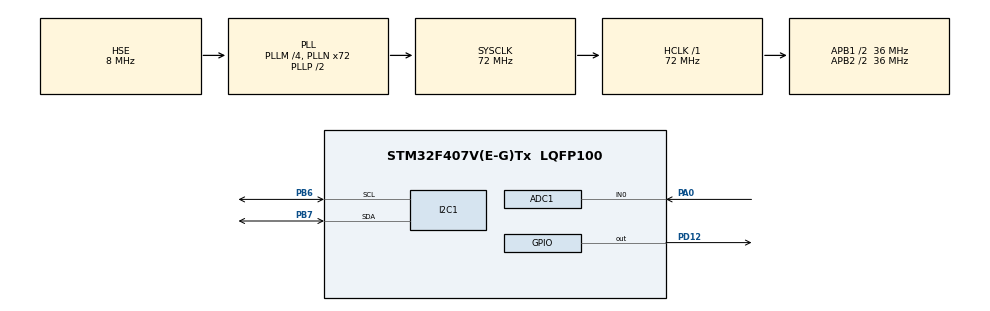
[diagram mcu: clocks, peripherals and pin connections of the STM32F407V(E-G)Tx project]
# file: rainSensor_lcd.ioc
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ADC1.Channel-2\#ChannelRegularConversion=ADC_CHANNEL_0
ADC1.NbrOfConversionFlag=1
ADC1.Rank-2\#ChannelRegularConversion=1
ADC1.SamplingTime-2\#ChannelRegularConversion=ADC_SAMPLETIME_3CYCLES
ADC1.master=1
Mcu.Family=STM32F4
Mcu.Name=STM32F407V(E-G)Tx
Mcu.Package=LQFP100
NVIC.PriorityGroup=NVIC_PRIORITYGROUP_0
PA0-WKUP.Signal=ADCx_IN0
PA13.Mode=Serial_Wire
PA13.Signal=SYS_JTMS-SWDIO
PA14.Mode=Serial_Wire
PA14.Signal=SYS_JTCK-SWCLK
PB6.Mode=I2C
PB6.Signal=I2C1_SCL
PB7.Mode=I2C
PB7.Signal=I2C1_SDA
PD12.Signal=GPIO_Output
PH0-OSC_IN.Mode=HSE-External-Oscillator
PH0-OSC_IN.Signal=RCC_OSC_IN
PH1-OSC_OUT.Mode=HSE-External-Oscillator
PH1-OSC_OUT.Signal=RCC_OSC_OUT
ProjectManager.HeapSize=0x200
ProjectManager.StackSize=0x400
ProjectManager.TargetToolchain=STM32CubeIDE
RCC.48MHZClocksFreq_Value=20571428.57142857
RCC.AHBFreq_Value=72000000
RCC.APB1CLKDivider=RCC_HCLK_DIV2
RCC.APB1Freq_Value=36000000
RCC.APB1TimFreq_Value=72000000
RCC.APB2CLKDivider=RCC_HCLK_DIV2
RCC.APB2Freq_Value=36000000
RCC.APB2TimFreq_Value=72000000
RCC.CortexFreq_Value=72000000
RCC.HCLKFreq_Value=72000000
RCC.HSE_VALUE=8000000
RCC.HSI_VALUE=16000000
RCC.LSE_VALUE=32768
RCC.PLLM=4
RCC.PLLN=72
RCC.PLLQ=7
RCC.PLLSourceVirtual=RCC_PLLSOURCE_HSE
RCC.SYSCLKFreq_VALUE=72000000
RCC.SYSCLKSource=RCC_SYSCLKSOURCE_PLLCLK
RCC.VCOOutputFreq_Value=144000000
SH.ADCx_IN0.0=ADC1_IN0,IN0
board=STM32F407G-DISC1

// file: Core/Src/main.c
/* USER CODE BEGIN Header */
/**
  ******************************************************************************
  * @file           : main.c
  * @brief          : Main program body
  ******************************************************************************
  * @attention
  *
  * Copyright (c) 2025 STMicroelectronics.
  * All rights reserved.
  *
  * This software is licensed under terms that can be found in the LICENSE file
  * in the root directory of this software component.
  * If no LICENSE file comes with this software, it is provided AS-IS.
  *
  ******************************************************************************
  */
/* USER CODE END Header */
#include "main.h"

/* USER CODE BEGIN Includes */
#include <stdio.h>
#include <string.h>
#include "lcd16x2_i2c.h"
/* USER CODE END Includes */

ADC_HandleTypeDef hadc1;

I2C_HandleTypeDef hi2c1;

void SystemClock_Config(void);
static void MX_GPIO_Init(void);
static void MX_ADC1_Init(void);
static void MX_I2C1_Init(void);

int main(void)
{

  /* USER CODE BEGIN 1 */

	  int adcVal;
	  char str[20];
  /* USER CODE END 1 */

  /* MCU Configuration--------------------------------------------------------*/

  /* Reset of all peripherals, Initializes the Flash interface and the Systick. */
  HAL_Init();

  /* Configure the system clock */
  SystemClock_Config();

  /* Initialize all configured peripherals */
  MX_GPIO_Init();
  MX_ADC1_Init();
  MX_I2C1_Init();

  /* Infinite loop */
  /* USER CODE BEGIN WHILE */
  while (1)
  {

	  HAL_ADC_Start(&hadc1);
	  HAL_ADC_PollForConversion(&hadc1,HAL_MAX_DELAY);
	  adcVal = HAL_ADC_GetValue(&hadc1);
	  HAL_ADC_Stop(&hadc1);
	  int ret = lcd16x2_i2c_init(&hi2c1);

	  sprintf(str,"ADC value : %d \r\n",adcVal);
	  if(ret)
	  {
		  lcd16x2_i2c_setCursor(0, 0);
		  lcd16x2_i2c_printf(str);
	  }
	  HAL_Delay(1000);
    /* USER CODE END WHILE */

  }
}

void SystemClock_Config(void)
{
  RCC_OscInitTypeDef RCC_OscInitStruct = {0};
  RCC_ClkInitTypeDef RCC_ClkInitStruct = {0};

  /** Configure the main internal regulator output voltage
  */
  __HAL_RCC_PWR_CLK_ENABLE();
  __HAL_PWR_VOLTAGESCALING_CONFIG(PWR_REGULATOR_VOLTAGE_SCALE1);

  /** Initializes the RCC Oscillators according to the specified parameters
  * in the RCC_OscInitTypeDef structure.
  */
  RCC_OscInitStruct.OscillatorType = RCC_OSCILLATORTYPE_HSE;
  RCC_OscInitStruct.HSEState = RCC_HSE_ON;
  RCC_OscInitStruct.PLL.PLLState = RCC_PLL_ON;
  RCC_OscInitStruct.PLL.PLLSource = RCC_PLLSOURCE_HSE;
  RCC_OscInitStruct.PLL.PLLM = 4;
  RCC_OscInitStruct.PLL.PLLN = 72;
  RCC_OscInitStruct.PLL.PLLP = RCC_PLLP_DIV2;
  RCC_OscInitStruct.PLL.PLLQ = 7;
  if (HAL_RCC_OscConfig(&RCC_OscInitStruct) != HAL_OK)
  {
    Error_Handler();
  }

  /** Initializes the CPU, AHB and APB buses clocks
  */
  RCC_ClkInitStruct.ClockType = RCC_CLOCKTYPE_HCLK|RCC_CLOCKTYPE_SYSCLK
                              |RCC_CLOCKTYPE_PCLK1|RCC_CLOCKTYPE_PCLK2;
  RCC_ClkInitStruct.SYSCLKSource = RCC_SYSCLKSOURCE_PLLCLK;
  RCC_ClkInitStruct.AHBCLKDivider = RCC_SYSCLK_DIV1;
  RCC_ClkInitStruct.APB1CLKDivider = RCC_HCLK_DIV2;
  RCC_ClkInitStruct.APB2CLKDivider = RCC_HCLK_DIV2;

  if (HAL_RCC_ClockConfig(&RCC_ClkInitStruct, FLASH_LATENCY_2) != HAL_OK)
  {
    Error_Handler();
  }
}

static void MX_ADC1_Init(void)
{

  ADC_ChannelConfTypeDef sConfig = {0};

  /** Configure the global features of the ADC (Clock, Resolution, Data Alignment and number of conversion)
  */
  hadc1.Instance = ADC1;
  hadc1.Init.ClockPrescaler = ADC_CLOCK_SYNC_PCLK_DIV2;
  hadc1.Init.Resolution = ADC_RESOLUTION_12B;
  hadc1.Init.ScanConvMode = DISABLE;
  hadc1.Init.ContinuousConvMode = DISABLE;
  hadc1.Init.DiscontinuousConvMode = DISABLE;
  hadc1.Init.ExternalTrigConvEdge = ADC_EXTERNALTRIGCONVEDGE_NONE;
  hadc1.Init.ExternalTrigConv = ADC_SOFTWARE_START;
  hadc1.Init.DataAlign = ADC_DATAALIGN_RIGHT;
  hadc1.Init.NbrOfConversion = 1;
  hadc1.Init.DMAContinuousRequests = DISABLE;
  hadc1.Init.EOCSelection = ADC_EOC_SINGLE_CONV;
  if (HAL_ADC_Init(&hadc1) != HAL_OK)
  {
    Error_Handler();
  }

  /** Configure for the selected ADC regular channel its corresponding rank in the sequencer and its sample time.
  */
  sConfig.Channel = ADC_CHANNEL_0;
  sConfig.Rank = 1;
  sConfig.SamplingTime = ADC_SAMPLETIME_3CYCLES;
  if (HAL_ADC_ConfigChannel(&hadc1, &sConfig) != HAL_OK)
  {
    Error_Handler();
  }

}

static void MX_I2C1_Init(void)
{

  hi2c1.Instance = I2C1;
  hi2c1.Init.ClockSpeed = 100000;
  hi2c1.Init.DutyCycle = I2C_DUTYCYCLE_2;
  hi2c1.Init.OwnAddress1 = 0;
  hi2c1.Init.AddressingMode = I2C_ADDRESSINGMODE_7BIT;
  hi2c1.Init.DualAddressMode = I2C_DUALADDRESS_DISABLE;
  hi2c1.Init.OwnAddress2 = 0;
  hi2c1.Init.GeneralCallMode = I2C_GENERALCALL_DISABLE;
  hi2c1.Init.NoStretchMode = I2C_NOSTRETCH_DISABLE;
  if (HAL_I2C_Init(&hi2c1) != HAL_OK)
  {
    Error_Handler();
  }

}

static void MX_GPIO_Init(void)
{
  GPIO_InitTypeDef GPIO_InitStruct = {0};

  /* GPIO Ports Clock Enable */
  __HAL_RCC_GPIOH_CLK_ENABLE();
  __HAL_RCC_GPIOA_CLK_ENABLE();
  __HAL_RCC_GPIOD_CLK_ENABLE();
  __HAL_RCC_GPIOB_CLK_ENABLE();

  /*Configure GPIO pin Output Level */
  HAL_GPIO_WritePin(GPIOD, GPIO_PIN_12, GPIO_PIN_RESET);

  /*Configure GPIO pin : PD12 */
  GPIO_InitStruct.Pin = GPIO_PIN_12;
  GPIO_InitStruct.Mode = GPIO_MODE_OUTPUT_PP;
  GPIO_InitStruct.Pull = GPIO_NOPULL;
  GPIO_InitStruct.Speed = GPIO_SPEED_FREQ_LOW;
  HAL_GPIO_Init(GPIOD, &GPIO_InitStruct);

}

void Error_Handler(void)
{
  __disable_irq();
  while (1)
  {
  }
}
